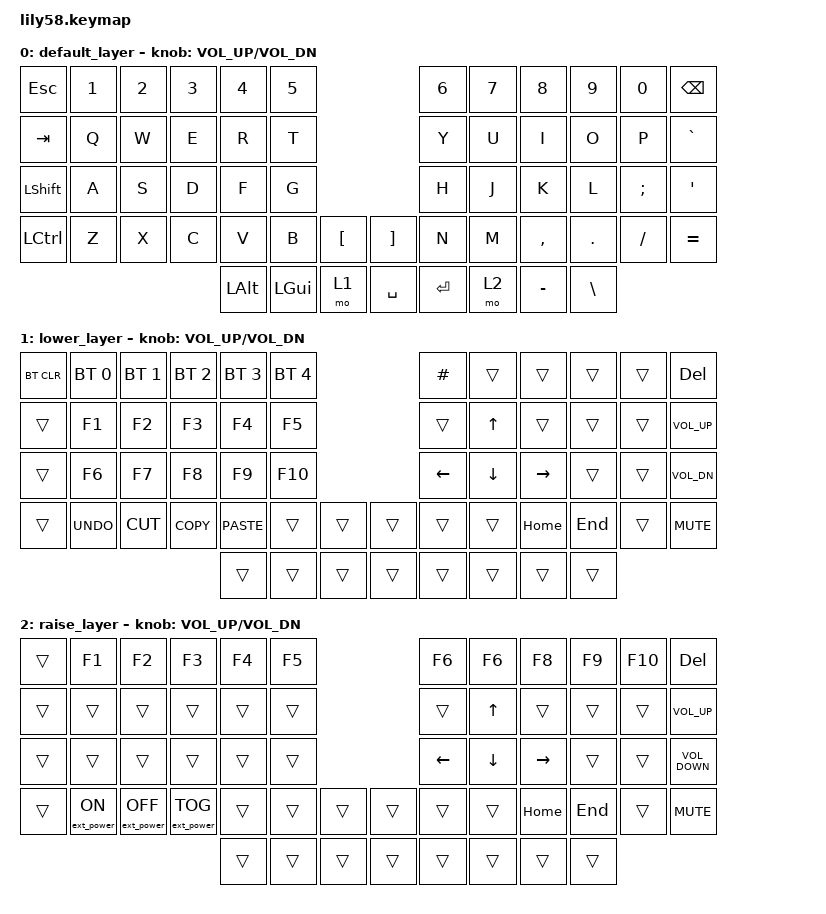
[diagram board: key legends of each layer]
/*
 * Copyright (c) 2020 The ZMK Contributors
 *
 * SPDX-License-Identifier: MIT
 */

#include <behaviors.dtsi>
#include <dt-bindings/zmk/keys.h>
#include <dt-bindings/zmk/bt.h>
#include <dt-bindings/zmk/ext_power.h>

/ {
    keymap {
        compatible = "zmk,keymap";

        default_layer {
            // ------------------------------------------------------------------------------------------------------------
            // |  ESC  |  1  |  2  |  3   |  4   |  5   |                   |  6   |  7    |  8    |  9   |   0   |   `   |
            // |  TAB  |  Q  |  W  |  E   |  R   |  T   |                   |  Y   |  U    |  I    |  O   |   P   |   -   |
            // |  CTRL |  A  |  S  |  D   |  F   |  G   |                   |  H   |  J    |  K    |  L   |   ;   |   '   |
            // | SHIFT |  Z  |  X  |  C   |  V   |  B   |   "["  |  |  "]"  |  N   |  M    |  ,    |  .   |   /   | SHIFT |
            //                     | ALT  | GUI  | LOWER|  SPACE |  | ENTER | RAISE| BSPC  | GUI   |

            bindings = <
    &kp ESC  &kp N1  &kp N2    &kp N3    &kp N4  &kp N5                       &kp N6     &kp N7         &kp N8   &kp N9    &kp N0  &kp BACKSPACE
    &kp TAB   &kp Q   &kp W     &kp E     &kp R   &kp T                        &kp Y      &kp U          &kp I    &kp O     &kp P      &kp GRAVE
 &kp LSHIFT   &kp A   &kp S     &kp D     &kp F   &kp G                        &kp H      &kp J          &kp K    &kp L  &kp SEMI        &kp SQT
  &kp LCTRL   &kp Z   &kp X     &kp C     &kp V   &kp B   &kp LBKT  &kp RBKT   &kp N      &kp M      &kp COMMA  &kp DOT  &kp FSLH      &kp EQUAL
                             &kp LALT  &kp LGUI   &mo 1  &kp SPACE   &kp RET   &mo 2  &kp MINUS  &kp BACKSLASH
            >;

            sensor-bindings = <&inc_dec_kp C_VOL_UP C_VOL_DN>;
        };

        lower_layer {
            // ------------------------------------------------------------------------------------------------------------
            // | BTCLR | BT1 | BT2 |  BT3 |  BT4 |  BT5 |                   |      |       |       |      |       |       |
            // |  F1   |  F2 |  F3 |  F4  |  F5  |  F6  |                   |  F7  |  F8   |  F9   |  F10 |  F11  |  F12  |
            // |   `   |  !  |  @  |  #   |  $   |  %   |                   |  ^   |  &    |  *    |  (   |   )   |   ~   |
            // |       |     |     |      |      |      |        |  |       |      |  _    |  +    |  {   |   }   |  "|"  |
            //                     |      |      |      |        |  |       |      |       |       |

            bindings = <
 &bt BT_CLR  &bt BT_SEL 0  &bt BT_SEL 1  &bt BT_SEL 2  &bt BT_SEL 3  &bt BT_SEL 4                       &kp POUND          &trans           &trans   &trans  &trans       &kp DEL
     &trans        &kp F1        &kp F2        &kp F3        &kp F4        &kp F5                          &trans    &kp UP_ARROW           &trans   &trans  &trans  &kp C_VOL_UP
     &trans        &kp F6        &kp F7        &kp F8        &kp F9       &kp F10                  &kp LEFT_ARROW  &kp DOWN_ARROW  &kp RIGHT_ARROW   &trans  &trans  &kp C_VOL_DN
     &trans    &kp K_UNDO     &kp K_CUT    &kp K_COPY   &kp K_PASTE        &trans  &trans  &trans          &trans          &trans         &kp HOME  &kp END  &trans    &kp C_MUTE
                                               &trans        &trans        &trans  &trans  &trans          &trans          &trans           &trans
            >;

            sensor-bindings = <&inc_dec_kp C_VOL_UP C_VOL_DN>;
        };

        raise_layer {
            // ------------------------------------------------------------------------------------------------------------
            // |       |     |     |      |      |      |                   |      |       |       |      |       |       |
            // |   `   |  1  |  2  |  3   |  4   |  5   |                   |  6   |   7   |   8   |  9   |   0   |       |
            // |   F1  |  F2 |  F3 |  F4  |  F5  |  F6  |                   |      |   <-  |   v   |  ^   |  ->   |       |
            // |   F7  |  F8 |  F9 |  F10 |  F11 |  F12 |        |  |       |  +   |   -   |   =   |  [   |   ]   |   \   |
            //                     |      |      |      |        |  |       |      |       |       |

            bindings = <
 &trans            &kp F1             &kp F2             &kp F3  &kp F4  &kp F5                    &kp F6    &kp F6     &kp F8   &kp F9  &kp F10            &kp DEL
 &trans            &trans             &trans             &trans  &trans  &trans                    &trans    &kp UP     &trans   &trans   &trans       &kp C_VOL_UP
 &trans            &trans             &trans             &trans  &trans  &trans                  &kp LEFT  &kp DOWN  &kp RIGHT   &trans   &trans  &kp C_VOLUME_DOWN
 &trans  &ext_power EP_ON  &ext_power EP_OFF  &ext_power EP_TOG  &trans  &trans  &trans  &trans    &trans    &trans   &kp HOME  &kp END   &trans         &kp C_MUTE
                                                         &trans  &trans  &trans  &trans  &trans    &trans    &trans     &trans
            >;

            sensor-bindings = <&inc_dec_kp C_VOL_UP C_VOL_DN>;
        };
    };
};
